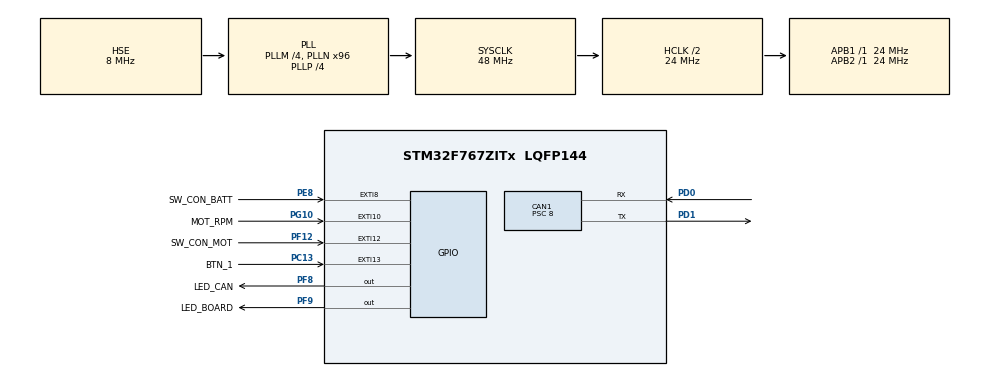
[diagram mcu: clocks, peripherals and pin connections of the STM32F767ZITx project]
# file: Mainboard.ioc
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CAN1.BS1=CAN_BS1_2TQ
CAN1.BS2=CAN_BS2_3TQ
CAN1.CalculateBaudRate=500000
CAN1.CalculateTimeBit=2000
CAN1.CalculateTimeQuantum=333.3333333333333
CAN1.Prescaler=8
CAN1.SJW=CAN_SJW_2TQ
CORTEX_M7.default_mode_Activation=1
Mcu.Family=STM32F7
Mcu.Name=STM32F767ZITx
Mcu.Package=LQFP144
NVIC.CAN1_RX0_IRQn=true\:0\:0\:false\:false\:true\:true\:true\:true
NVIC.EXTI15_10_IRQn=true\:0\:0\:false\:false\:true\:true\:true\:true
NVIC.EXTI9_5_IRQn=true\:0\:0\:false\:false\:true\:true\:true\:true
NVIC.PriorityGroup=NVIC_PRIORITYGROUP_4
NVIC.TIM2_IRQn=true\:0\:0\:false\:false\:true\:true\:true\:true
NVIC.TIM3_IRQn=true\:0\:0\:false\:false\:true\:true\:true\:true
PC13.GPIO_Label=BTN_1
PC13.GPIO_ModeDefaultEXTI=GPIO_MODE_IT_FALLING
PC13.GPIO_PuPd=GPIO_PULLUP
PC13.Signal=GPXTI13
PD0.GPIO_PuPd=GPIO_PULLUP
PD0.Mode=CAN_Activate
PD0.Signal=CAN1_RX
PD1.Mode=CAN_Activate
PD1.Signal=CAN1_TX
PE8.GPIO_Label=SW_CON_BATT
PE8.GPIO_ModeDefaultEXTI=GPIO_MODE_IT_RISING_FALLING
PE8.Signal=GPXTI8
PF12.GPIO_Label=SW_CON_MOT
PF12.GPIO_ModeDefaultEXTI=GPIO_MODE_IT_RISING_FALLING
PF12.Signal=GPXTI12
PF8.GPIO_Label=LED_CAN
PF8.Signal=GPIO_Output
PF9.GPIO_Label=LED_BOARD
PF9.Signal=GPIO_Output
PG10.GPIO_Label=MOT_RPM
PG10.Signal=GPXTI10
PH0/OSC_IN.Mode=HSE-External-Oscillator
PH0/OSC_IN.Signal=RCC_OSC_IN
PH1/OSC_OUT.Mode=HSE-External-Oscillator
PH1/OSC_OUT.Signal=RCC_OSC_OUT
ProjectManager.HeapSize=0x200
ProjectManager.StackSize=0x400
ProjectManager.TargetToolchain=STM32CubeIDE
RCC.AHBCLKDivider=RCC_SYSCLK_DIV2
RCC.AHBFreq_Value=24000000
RCC.APB1Freq_Value=24000000
RCC.APB1TimFreq_Value=24000000
RCC.APB2Freq_Value=24000000
RCC.APB2TimFreq_Value=24000000
RCC.CortexFreq_Value=24000000
RCC.HCLKFreq_Value=24000000
RCC.HSE_VALUE=8000000
RCC.HSI_VALUE=16000000
RCC.LSE_VALUE=32768
RCC.PLLM=4
RCC.PLLN=96
RCC.PLLP=RCC_PLLP_DIV4
RCC.PLLSourceVirtual=RCC_PLLSOURCE_HSE
RCC.SYSCLKFreq_VALUE=48000000
RCC.SYSCLKSource=RCC_SYSCLKSOURCE_PLLCLK
RCC.USBFreq_Value=96000000
RCC.VCOOutputFreq_Value=192000000
TIM2.Period=1000000
TIM2.Prescaler=24
TIM3.ClockDivision=TIM_CLOCKDIVISION_DIV1
TIM3.Period=100
TIM3.Prescaler=24000
VP_TIM2_VS_ClockSourceINT.Mode=Internal
VP_TIM3_VS_ClockSourceINT.Mode=Internal
VP_TIM8_VS_ClockSourceINT.Mode=Internal
board=custom

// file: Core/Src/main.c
/* USER CODE BEGIN Header */
/**
  ******************************************************************************
  * @file           : main.c
  * @brief          : Main program body
  ******************************************************************************
  * @attention
  *
  * Copyright (c) 2024 STMicroelectronics.
  * All rights reserved.
  *
  * This software is licensed under terms that can be found in the LICENSE file
  * in the root directory of this software component.
  * If no LICENSE file comes with this software, it is provided AS-IS.
  *
  ******************************************************************************
  */
/* USER CODE END Header */
#include "main.h"

/* USER CODE BEGIN Includes */
#include "can.h"
#include "sys_can_transmit.h"
#include "sys_can_receive.h"
#include "board_specific_params.h"
/* USER CODE END Includes */

CAN_HandleTypeDef hcan1;

TIM_HandleTypeDef htim2;
TIM_HandleTypeDef htim3;
TIM_HandleTypeDef htim8;

/* USER CODE BEGIN PV */

board_param_t* dashboard_params;

uint32_t ticks = 0;
float velo = 0;
float rpm = 0;

/* USER CODE END PV */

void SystemClock_Config(void);
static void MPU_Config(void);
static void MX_GPIO_Init(void);
static void MX_CAN1_Init(void);
static void MX_TIM2_Init(void);
static void MX_TIM3_Init(void);
static void MX_TIM8_Init(void);

/* USER CODE BEGIN 0 */
void HAL_CAN_RxFifo0MsgPendingCallback(CAN_HandleTypeDef *hcan) {
	can_receive_message();
	param_handler();
}

void HAL_GPIO_EXTI_Callback(uint16_t pin) {
	switch (pin) {

	case SW_CON_BATT_Pin:
		dashboard_params[Con_Batt].bval = !HAL_GPIO_ReadPin(SW_CON_BATT_GPIO_Port, SW_CON_BATT_Pin);
		dashboard_params[Con_Batt].has_change = true;
	break;

	case SW_CON_MOT_Pin:
		dashboard_params[Con_Motor].bval = !HAL_GPIO_ReadPin(SW_CON_MOT_GPIO_Port, SW_CON_MOT_Pin);
		dashboard_params[Con_Motor].has_change = true;
	break;

	case MOT_RPM_Pin:
		HAL_GPIO_TogglePin(LED_BOARD_GPIO_Port, LED_BOARD_Pin);
		ticks++;
	break;

	default:
		//no-op
	break;
	}
	param_handler();
}

void HAL_TIM_PeriodElapsedCallback(TIM_HandleTypeDef* htim) {
	if (htim == &htim3) {
		uint32_t num_ticks = ticks;
		ticks = 0;

		rpm = num_ticks/48.0 * 10.0 * 60.0;

		float dist = num_ticks/48.0 * 3.1415 * 0.000505051 /* diam in miles = 32 in*/;
		velo = (dist*10.0*3600.0);
		HAL_GPIO_TogglePin(LED_CAN_GPIO_Port, LED_CAN_Pin);
		dashboard_params[2].to_send = true;
	}
}
/* USER CODE END 0 */

int main(void)
{

  /* USER CODE BEGIN 1 */

  dashboard_params = get_params();

  /* USER CODE END 1 */

  /* MPU Configuration--------------------------------------------------------*/
  MPU_Config();

  /* MCU Configuration--------------------------------------------------------*/

  /* Reset of all peripherals, Initializes the Flash interface and the Systick. */
  HAL_Init();

  /* Configure the system clock */
  SystemClock_Config();

  /* Initialize all configured peripherals */
  MX_GPIO_Init();
  MX_CAN1_Init();
  MX_TIM2_Init();
  MX_TIM3_Init();
  MX_TIM8_Init();
  /* USER CODE BEGIN 2 */
  HAL_CAN_Start(&hcan1);
  can_tx_init(&hcan1, dashboard_params);
  can_rx_init(&hcan1, dashboard_params);
  HAL_CAN_ActivateNotification(&hcan1, CAN_IT_RX_FIFO0_MSG_PENDING);
  HAL_TIM_Base_Start_IT(&htim3);
  /* USER CODE END 2 */

  /* Infinite loop */
  while (1)
  {

    /* USER CODE BEGIN 3 */
	dashboard_params[2].fval = velo;
	//dashboard_params[Motor_Velo].has_change = true;
    can_incremental_update();
    state_recalculate();

  }
  /* USER CODE END 3 */
}

void SystemClock_Config(void)
{
  RCC_OscInitTypeDef RCC_OscInitStruct = {0};
  RCC_ClkInitTypeDef RCC_ClkInitStruct = {0};

  /** Configure the main internal regulator output voltage
  */
  __HAL_RCC_PWR_CLK_ENABLE();
  __HAL_PWR_VOLTAGESCALING_CONFIG(PWR_REGULATOR_VOLTAGE_SCALE3);

  /** Initializes the RCC Oscillators according to the specified parameters
  * in the RCC_OscInitTypeDef structure.
  */
  RCC_OscInitStruct.OscillatorType = RCC_OSCILLATORTYPE_HSE;
  RCC_OscInitStruct.HSEState = RCC_HSE_ON;
  RCC_OscInitStruct.PLL.PLLState = RCC_PLL_ON;
  RCC_OscInitStruct.PLL.PLLSource = RCC_PLLSOURCE_HSE;
  RCC_OscInitStruct.PLL.PLLM = 4;
  RCC_OscInitStruct.PLL.PLLN = 96;
  RCC_OscInitStruct.PLL.PLLP = RCC_PLLP_DIV4;
  RCC_OscInitStruct.PLL.PLLQ = 2;
  RCC_OscInitStruct.PLL.PLLR = 2;
  if (HAL_RCC_OscConfig(&RCC_OscInitStruct) != HAL_OK)
  {
    Error_Handler();
  }

  /** Initializes the CPU, AHB and APB buses clocks
  */
  RCC_ClkInitStruct.ClockType = RCC_CLOCKTYPE_HCLK|RCC_CLOCKTYPE_SYSCLK
                              |RCC_CLOCKTYPE_PCLK1|RCC_CLOCKTYPE_PCLK2;
  RCC_ClkInitStruct.SYSCLKSource = RCC_SYSCLKSOURCE_PLLCLK;
  RCC_ClkInitStruct.AHBCLKDivider = RCC_SYSCLK_DIV2;
  RCC_ClkInitStruct.APB1CLKDivider = RCC_HCLK_DIV1;
  RCC_ClkInitStruct.APB2CLKDivider = RCC_HCLK_DIV1;

  if (HAL_RCC_ClockConfig(&RCC_ClkInitStruct, FLASH_LATENCY_0) != HAL_OK)
  {
    Error_Handler();
  }
}

static void MX_CAN1_Init(void)
{

  hcan1.Instance = CAN1;
  hcan1.Init.Prescaler = 8;
  hcan1.Init.Mode = CAN_MODE_NORMAL;
  hcan1.Init.SyncJumpWidth = CAN_SJW_2TQ;
  hcan1.Init.TimeSeg1 = CAN_BS1_2TQ;
  hcan1.Init.TimeSeg2 = CAN_BS2_3TQ;
  hcan1.Init.TimeTriggeredMode = DISABLE;
  hcan1.Init.AutoBusOff = DISABLE;
  hcan1.Init.AutoWakeUp = DISABLE;
  hcan1.Init.AutoRetransmission = DISABLE;
  hcan1.Init.ReceiveFifoLocked = DISABLE;
  hcan1.Init.TransmitFifoPriority = DISABLE;
  if (HAL_CAN_Init(&hcan1) != HAL_OK)
  {
    Error_Handler();
  }
  /* USER CODE BEGIN CAN1_Init 2 */
  CAN_FilterTypeDef canfilterconfig;

  canfilterconfig.FilterActivation = CAN_FILTER_ENABLE;
  canfilterconfig.FilterBank = 18;  // which filter bank to use from the assigned ones
  canfilterconfig.FilterFIFOAssignment = CAN_FILTER_FIFO0;
  canfilterconfig.FilterIdHigh = 0x000<<5; // 0x001
  canfilterconfig.FilterIdLow = 0;
  canfilterconfig.FilterMaskIdHigh = 0x000<<5; // 0x001
  canfilterconfig.FilterMaskIdLow = 0x0000;
  canfilterconfig.FilterMode = CAN_FILTERMODE_IDMASK;
  canfilterconfig.FilterScale = CAN_FILTERSCALE_32BIT;
  canfilterconfig.SlaveStartFilterBank = 20;  // how many filters to assign to the CAN1 (master can)

  HAL_CAN_ConfigFilter(&hcan1, &canfilterconfig);
  /* USER CODE END CAN1_Init 2 */

}

static void MX_TIM2_Init(void)
{

  TIM_ClockConfigTypeDef sClockSourceConfig = {0};
  TIM_MasterConfigTypeDef sMasterConfig = {0};

  htim2.Instance = TIM2;
  htim2.Init.Prescaler = 24;
  htim2.Init.CounterMode = TIM_COUNTERMODE_UP;
  htim2.Init.Period = 1000000;
  htim2.Init.ClockDivision = TIM_CLOCKDIVISION_DIV1;
  htim2.Init.AutoReloadPreload = TIM_AUTORELOAD_PRELOAD_DISABLE;
  if (HAL_TIM_Base_Init(&htim2) != HAL_OK)
  {
    Error_Handler();
  }
  sClockSourceConfig.ClockSource = TIM_CLOCKSOURCE_INTERNAL;
  if (HAL_TIM_ConfigClockSource(&htim2, &sClockSourceConfig) != HAL_OK)
  {
    Error_Handler();
  }
  sMasterConfig.MasterOutputTrigger = TIM_TRGO_RESET;
  sMasterConfig.MasterSlaveMode = TIM_MASTERSLAVEMODE_DISABLE;
  if (HAL_TIMEx_MasterConfigSynchronization(&htim2, &sMasterConfig) != HAL_OK)
  {
    Error_Handler();
  }

}

static void MX_TIM3_Init(void)
{

  TIM_ClockConfigTypeDef sClockSourceConfig = {0};
  TIM_MasterConfigTypeDef sMasterConfig = {0};

  htim3.Instance = TIM3;
  htim3.Init.Prescaler = 24000;
  htim3.Init.CounterMode = TIM_COUNTERMODE_UP;
  htim3.Init.Period = 100;
  htim3.Init.ClockDivision = TIM_CLOCKDIVISION_DIV1;
  htim3.Init.AutoReloadPreload = TIM_AUTORELOAD_PRELOAD_DISABLE;
  if (HAL_TIM_Base_Init(&htim3) != HAL_OK)
  {
    Error_Handler();
  }
  sClockSourceConfig.ClockSource = TIM_CLOCKSOURCE_INTERNAL;
  if (HAL_TIM_ConfigClockSource(&htim3, &sClockSourceConfig) != HAL_OK)
  {
    Error_Handler();
  }
  sMasterConfig.MasterOutputTrigger = TIM_TRGO_RESET;
  sMasterConfig.MasterSlaveMode = TIM_MASTERSLAVEMODE_DISABLE;
  if (HAL_TIMEx_MasterConfigSynchronization(&htim3, &sMasterConfig) != HAL_OK)
  {
    Error_Handler();
  }

}

static void MX_TIM8_Init(void)
{

  TIM_ClockConfigTypeDef sClockSourceConfig = {0};
  TIM_MasterConfigTypeDef sMasterConfig = {0};

  htim8.Instance = TIM8;
  htim8.Init.Prescaler = 0;
  htim8.Init.CounterMode = TIM_COUNTERMODE_UP;
  htim8.Init.Period = 65535;
  htim8.Init.ClockDivision = TIM_CLOCKDIVISION_DIV1;
  htim8.Init.RepetitionCounter = 0;
  htim8.Init.AutoReloadPreload = TIM_AUTORELOAD_PRELOAD_DISABLE;
  if (HAL_TIM_Base_Init(&htim8) != HAL_OK)
  {
    Error_Handler();
  }
  sClockSourceConfig.ClockSource = TIM_CLOCKSOURCE_INTERNAL;
  if (HAL_TIM_ConfigClockSource(&htim8, &sClockSourceConfig) != HAL_OK)
  {
    Error_Handler();
  }
  sMasterConfig.MasterOutputTrigger = TIM_TRGO_RESET;
  sMasterConfig.MasterOutputTrigger2 = TIM_TRGO2_RESET;
  sMasterConfig.MasterSlaveMode = TIM_MASTERSLAVEMODE_DISABLE;
  if (HAL_TIMEx_MasterConfigSynchronization(&htim8, &sMasterConfig) != HAL_OK)
  {
    Error_Handler();
  }

}

static void MX_GPIO_Init(void)
{
  GPIO_InitTypeDef GPIO_InitStruct = {0};

  /* GPIO Ports Clock Enable */
  __HAL_RCC_GPIOC_CLK_ENABLE();
  __HAL_RCC_GPIOF_CLK_ENABLE();
  __HAL_RCC_GPIOH_CLK_ENABLE();
  __HAL_RCC_GPIOE_CLK_ENABLE();
  __HAL_RCC_GPIOD_CLK_ENABLE();
  __HAL_RCC_GPIOG_CLK_ENABLE();

  /*Configure GPIO pin Output Level */
  HAL_GPIO_WritePin(GPIOF, LED_CAN_Pin|LED_BOARD_Pin, GPIO_PIN_RESET);

  /*Configure GPIO pin : BTN_1_Pin */
  GPIO_InitStruct.Pin = BTN_1_Pin;
  GPIO_InitStruct.Mode = GPIO_MODE_IT_FALLING;
  GPIO_InitStruct.Pull = GPIO_PULLUP;
  HAL_GPIO_Init(BTN_1_GPIO_Port, &GPIO_InitStruct);

  /*Configure GPIO pins : LED_CAN_Pin LED_BOARD_Pin */
  GPIO_InitStruct.Pin = LED_CAN_Pin|LED_BOARD_Pin;
  GPIO_InitStruct.Mode = GPIO_MODE_OUTPUT_PP;
  GPIO_InitStruct.Pull = GPIO_NOPULL;
  GPIO_InitStruct.Speed = GPIO_SPEED_FREQ_LOW;
  HAL_GPIO_Init(GPIOF, &GPIO_InitStruct);

  /*Configure GPIO pin : SW_CON_MOT_Pin */
  GPIO_InitStruct.Pin = SW_CON_MOT_Pin;
  GPIO_InitStruct.Mode = GPIO_MODE_IT_RISING_FALLING;
  GPIO_InitStruct.Pull = GPIO_NOPULL;
  HAL_GPIO_Init(SW_CON_MOT_GPIO_Port, &GPIO_InitStruct);

  /*Configure GPIO pin : SW_CON_BATT_Pin */
  GPIO_InitStruct.Pin = SW_CON_BATT_Pin;
  GPIO_InitStruct.Mode = GPIO_MODE_IT_RISING_FALLING;
  GPIO_InitStruct.Pull = GPIO_NOPULL;
  HAL_GPIO_Init(SW_CON_BATT_GPIO_Port, &GPIO_InitStruct);

  /*Configure GPIO pin : MOT_RPM_Pin */
  GPIO_InitStruct.Pin = MOT_RPM_Pin;
  GPIO_InitStruct.Mode = GPIO_MODE_IT_RISING;
  GPIO_InitStruct.Pull = GPIO_NOPULL;
  HAL_GPIO_Init(MOT_RPM_GPIO_Port, &GPIO_InitStruct);

  /* EXTI interrupt init*/
  HAL_NVIC_SetPriority(EXTI9_5_IRQn, 0, 0);
  HAL_NVIC_EnableIRQ(EXTI9_5_IRQn);

  HAL_NVIC_SetPriority(EXTI15_10_IRQn, 0, 0);
  HAL_NVIC_EnableIRQ(EXTI15_10_IRQn);

}

 /* MPU Configuration */

void MPU_Config(void)
{
  MPU_Region_InitTypeDef MPU_InitStruct = {0};

  /* Disables the MPU */
  HAL_MPU_Disable();

  /** Initializes and configures the Region and the memory to be protected
  */
  MPU_InitStruct.Enable = MPU_REGION_ENABLE;
  MPU_InitStruct.Number = MPU_REGION_NUMBER0;
  MPU_InitStruct.BaseAddress = 0x0;
  MPU_InitStruct.Size = MPU_REGION_SIZE_4GB;
  MPU_InitStruct.SubRegionDisable = 0x87;
  MPU_InitStruct.TypeExtField = MPU_TEX_LEVEL0;
  MPU_InitStruct.AccessPermission = MPU_REGION_NO_ACCESS;
  MPU_InitStruct.DisableExec = MPU_INSTRUCTION_ACCESS_DISABLE;
  MPU_InitStruct.IsShareable = MPU_ACCESS_SHAREABLE;
  MPU_InitStruct.IsCacheable = MPU_ACCESS_NOT_CACHEABLE;
  MPU_InitStruct.IsBufferable = MPU_ACCESS_NOT_BUFFERABLE;

  HAL_MPU_ConfigRegion(&MPU_InitStruct);
  /* Enables the MPU */
  HAL_MPU_Enable(MPU_PRIVILEGED_DEFAULT);

}

void Error_Handler(void)
{
  __disable_irq();
  while (1)
  {
  }
}
